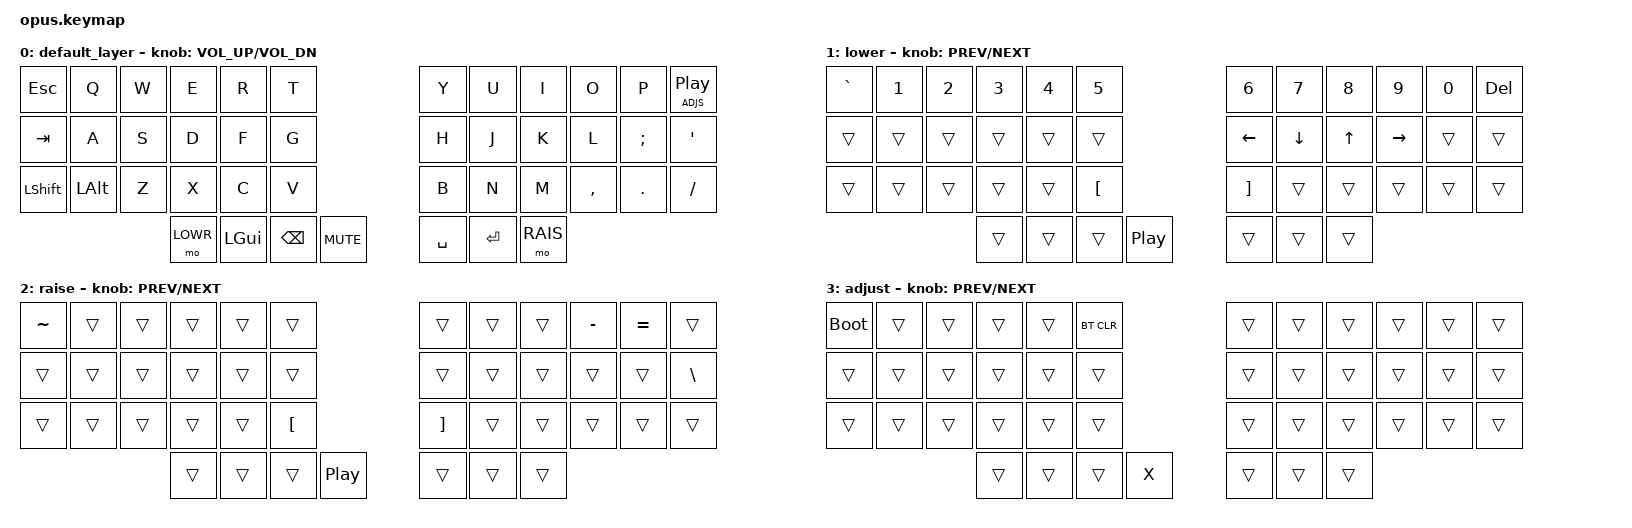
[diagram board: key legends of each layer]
#include <behaviors.dtsi>
#include <dt-bindings/zmk/keys.h>
#include <dt-bindings/zmk/bt.h>

#define LOWR 1
#define RAIS 2
#define ADJS 3

/ {
    keymap {
        compatible = "zmk,keymap";

        default_layer {
            bindings = <
    &kp ESC   &kp Q     &kp W    &kp E     &kp R     &kp T                                                 &kp Y     &kp U     &kp I     &kp O     &kp P    &lt ADJS C_PLAY_PAUSE 
    &kp TAB   &kp A     &kp S    &kp D     &kp F     &kp G                                                 &kp H     &kp J     &kp K     &kp L     &kp SEMI &kp SQT
    &kp LSHFT &kp LALT  &kp Z    &kp X     &kp C     &kp V                                                 &kp B     &kp N     &kp M     &kp COMMA &kp DOT  &kp FSLH
                                 &mo LOWR  &kp LGUI  &kp BSPC               &kp C_MUTE                     &kp SPACE &kp RET   &mo RAIS
            >;

            sensor-bindings = <&inc_dec_kp C_VOL_UP C_VOL_DN>;
        };

        lower {
          bindings = <
    &kp GRAVE &kp N1    &kp N2   &kp N3    &kp N4    &kp N5                                                &kp N6    &kp N7    &kp N8    &kp N9    &kp N0   &kp DEL
    &trans    &trans    &trans   &trans    &trans    &trans                                                &kp LEFT  &kp DOWN  &kp UP    &kp RIGHT &trans   &trans
    &trans    &trans    &trans   &trans    &trans    &kp LEFT_BRACKET                                      &kp RIGHT_BRACKET &trans &trans &trans  &trans   &trans
                                 &trans    &trans    &trans               &kp C_PLAY_PAUSE                 &trans    &trans    &trans
            >;

            sensor-bindings = <&inc_dec_kp C_PREV C_NEXT>;
        };

        raise {
          bindings = <
    &kp TILDE &trans    &trans   &trans    &trans    &trans                                                &trans    &trans    &trans    &kp MINUS &kp EQUAL &trans
    &trans    &trans    &trans   &trans    &trans    &trans                                                &trans    &trans    &trans    &trans    &trans   &kp BSLH
    &trans    &trans    &trans   &trans    &trans    &kp LBKT                                              &kp RBKT  &trans    &trans    &trans    &trans   &trans
                                 &trans    &trans    &trans                &kp C_PLAY_PAUSE                &trans    &trans    &trans
            >;

            sensor-bindings = <&inc_dec_kp C_PREV C_NEXT>;
        };

        adjust {
          bindings = <
    &bootloader &trans  &trans   &trans    &trans    &bt BT_CLR                                            &trans    &trans    &trans    &trans    &trans   &trans
    &trans    &trans    &trans   &trans    &trans    &trans                                                &trans    &trans    &trans    &trans    &trans   &trans
    &trans    &trans    &trans   &trans    &trans    &trans                                                &trans    &trans    &trans    &trans    &trans   &trans
                                 &trans    &trans    &trans                      &kp X                     &trans    &trans    &trans
            >;

            sensor-bindings = <&inc_dec_kp C_PREV C_NEXT>;
        };
    };
};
